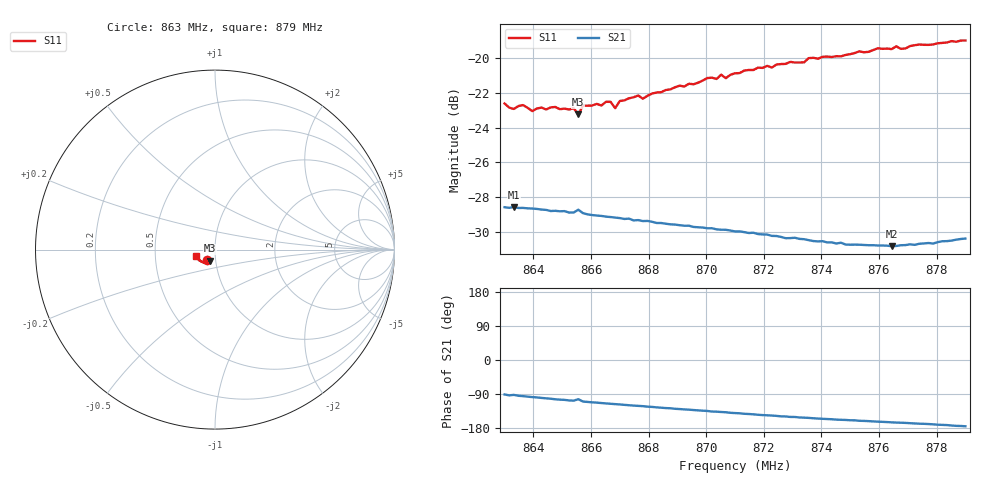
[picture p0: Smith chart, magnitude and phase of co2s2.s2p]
# HZ S RI R 50
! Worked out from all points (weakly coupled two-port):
!   101 points, 863 MHz to 879 MHz, reference 50 ohm
!   highest |S21| = -28.57 dB at 863.32 MHz (marker M1); lowest = -30.8 dB at 876.44 MHz (marker M2)
!   lowest |S11| = -23.2 dB at 865.56 MHz (marker M3), VSWR 1.15, Z = 46.7 - j5.83 ohm
!   |S11| at or under -10 dB: start of sweep to end of sweep
!   S12 and S22 are empty: the file has one direction only
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8.63e8  -0.0457 -0.0583  -0.000594 -0.0372  0 0  0 0
8.6332e8  -0.0399 -0.0592  -0.00134 -0.0373  0 0  0 0
8.6364e8  -0.0427 -0.0595  -0.00346 -0.0369  0 0  0 0
8.6396e8  -0.0397 -0.0582  -0.0051 -0.0366  0 0  0 0
8.6428e8  -0.039 -0.0606  -0.00641 -0.0361  0 0  0 0
8.654e8  -0.0375 -0.0611  -0.0107 -0.0343  0 0  0 0
8.6556e8  -0.0299 -0.062  -0.00852 -0.0356  0 0  0 0
8.6572e8  -0.0382 -0.0622  -0.012 -0.0337  0 0  0 0
8.6668e8  -0.0383 -0.0643  -0.015 -0.0315  0 0  0 0
8.6684e8  -0.0416 -0.0585  -0.0155 -0.0311  0 0  0 0
8.67e8  -0.0386 -0.0646  -0.0159 -0.0308  0 0  0 0
8.6764e8  -0.0399 -0.0671  -0.0176 -0.0293  0 0  0 0
8.678e8  -0.04 -0.0651  -0.0179 -0.0289  0 0  0 0
8.6844e8  -0.0421 -0.0679  -0.0197 -0.0272  0 0  0 0
8.7052e8  -0.052 -0.073  -0.0235 -0.0218  0 0  0 0
8.7068e8  -0.0512 -0.071  -0.0238 -0.0215  0 0  0 0
8.71e8  -0.0546 -0.0721  -0.0243 -0.0204  0 0  0 0
8.7292e8  -0.0664 -0.0714  -0.0263 -0.0151  0 0  0 0
8.734e8  -0.0685 -0.0691  -0.0266 -0.0141  0 0  0 0
8.7372e8  -0.0728 -0.0689  -0.0267 -0.0132  0 0  0 0
8.7644e8  -0.0906 -0.0554  -0.0277 -0.00766  0 0  0 0
8.79e8  -0.1061 -0.0371  -0.0301 -0.00269  0 0  0 0
